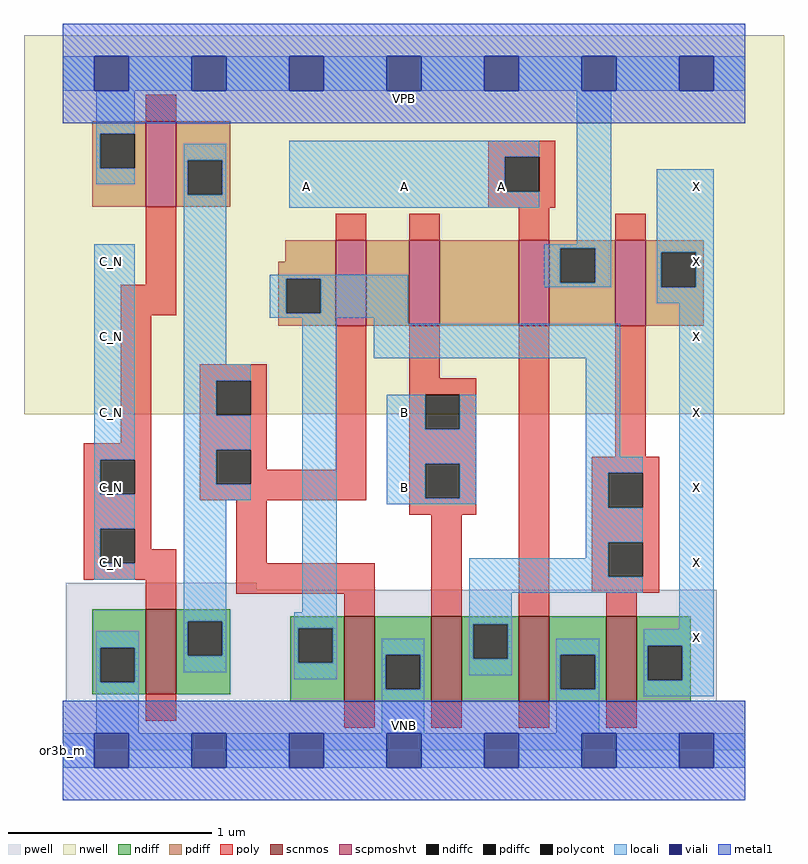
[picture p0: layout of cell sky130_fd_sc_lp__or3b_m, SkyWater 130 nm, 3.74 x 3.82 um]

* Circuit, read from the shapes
.subckt sky130_fd_sc_lp__or3b_m A B C_N VGND VNB VPB VPWR X
XM1 n1 C_N VGND VNB sky130_fd_pr__nfet_01v8 w=0.42 l=0.15
XM2 VGND n1 n2 VNB sky130_fd_pr__nfet_01v8 w=0.42 l=0.15
XM3 n2 B VGND VNB sky130_fd_pr__nfet_01v8 w=0.42 l=0.15
XM4 VGND A n2 VNB sky130_fd_pr__nfet_01v8 w=0.42 l=0.15
XM5 X n2 VGND VNB sky130_fd_pr__nfet_01v8 w=0.42 l=0.15
XM6 n1 C_N VPWR VPB sky130_fd_pr__pfet_01v8_hvt w=0.42 l=0.15
XM7 n3 n1 n2 VPB sky130_fd_pr__pfet_01v8_hvt w=0.42 l=0.15
XM8 n4 B n3 VPB sky130_fd_pr__pfet_01v8_hvt w=0.42 l=0.15
XM9 VPWR A n4 VPB sky130_fd_pr__pfet_01v8_hvt w=0.42 l=0.15
XM10 X n2 VPWR VPB sky130_fd_pr__pfet_01v8_hvt w=0.42 l=0.15
.ends

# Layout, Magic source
magic
tech sky130A
magscale 1 2
<< nwell >>
rect -38 331 710 704
<< pwell >>
rect 3 158 191 165
rect 3 49 644 158
rect 0 0 672 49
<< scnmos >>
rect 82 55 112 139
rect 277 48 307 132
rect 363 48 393 132
rect 449 48 479 132
rect 535 48 565 132
<< scpmoshvt >>
rect 82 535 112 619
rect 269 418 299 502
rect 341 418 371 502
rect 449 418 479 502
rect 544 418 574 502
<< ndiff >>
rect 29 101 82 139
rect 29 67 37 101
rect 71 67 82 101
rect 29 55 82 67
rect 112 127 165 139
rect 112 93 123 127
rect 157 93 165 127
rect 112 55 165 93
rect 224 120 277 132
rect 224 86 232 120
rect 266 86 277 120
rect 224 48 277 86
rect 307 94 363 132
rect 307 60 318 94
rect 352 60 363 94
rect 307 48 363 60
rect 393 124 449 132
rect 393 90 404 124
rect 438 90 449 124
rect 393 48 449 90
rect 479 94 535 132
rect 479 60 490 94
rect 524 60 535 94
rect 479 48 535 60
rect 565 103 618 132
rect 565 69 576 103
rect 610 69 618 103
rect 565 48 618 69
<< pdiff >>
rect 29 607 82 619
rect 29 573 37 607
rect 71 573 82 607
rect 29 535 82 573
rect 112 581 165 619
rect 112 547 123 581
rect 157 547 165 581
rect 112 535 165 547
rect 219 481 269 502
rect 212 464 269 481
rect 212 430 220 464
rect 254 430 269 464
rect 212 418 269 430
rect 299 418 341 502
rect 371 418 449 502
rect 479 494 544 502
rect 479 460 490 494
rect 524 460 544 494
rect 479 418 544 460
rect 574 490 631 502
rect 574 456 589 490
rect 623 456 631 490
rect 574 418 631 456
<< ndiffc >>
rect 37 67 71 101
rect 123 93 157 127
rect 232 86 266 120
rect 318 60 352 94
rect 404 90 438 124
rect 490 60 524 94
rect 576 69 610 103
<< pdiffc >>
rect 37 573 71 607
rect 123 547 157 581
rect 220 430 254 464
rect 490 460 524 494
rect 589 456 623 490
<< poly >>
rect 82 619 112 645
rect 419 584 485 600
rect 419 550 435 584
rect 469 550 485 584
rect 82 458 112 535
rect 419 534 485 550
rect 269 502 299 528
rect 341 502 371 528
rect 449 502 479 534
rect 544 502 574 528
rect 57 428 112 458
rect 57 302 87 428
rect 21 286 87 302
rect 21 252 37 286
rect 71 252 87 286
rect 21 218 87 252
rect 135 364 201 380
rect 135 330 151 364
rect 185 330 201 364
rect 135 296 201 330
rect 135 262 151 296
rect 185 276 201 296
rect 269 276 299 418
rect 185 262 299 276
rect 135 246 299 262
rect 341 366 371 418
rect 341 350 407 366
rect 341 316 357 350
rect 391 316 407 350
rect 341 282 407 316
rect 341 248 357 282
rect 391 248 407 282
rect 21 184 37 218
rect 71 198 87 218
rect 71 184 112 198
rect 21 168 112 184
rect 82 139 112 168
rect 171 184 201 246
rect 341 232 407 248
rect 171 154 307 184
rect 277 132 307 154
rect 363 132 393 232
rect 449 132 479 418
rect 544 289 574 418
rect 521 273 587 289
rect 521 239 537 273
rect 571 239 587 273
rect 521 205 587 239
rect 521 171 537 205
rect 571 171 587 205
rect 521 155 587 171
rect 535 132 565 155
rect 82 29 112 55
rect 277 22 307 48
rect 363 22 393 48
rect 449 22 479 48
rect 535 22 565 48
<< polycont >>
rect 435 550 469 584
rect 37 252 71 286
rect 151 330 185 364
rect 151 262 185 296
rect 357 316 391 350
rect 357 248 391 282
rect 37 184 71 218
rect 537 239 571 273
rect 537 171 571 205
<< locali >>
rect 0 649 31 683
rect 65 649 127 683
rect 161 649 223 683
rect 257 649 319 683
rect 353 649 415 683
rect 449 649 511 683
rect 545 649 607 683
rect 641 649 672 683
rect 33 607 71 649
rect 33 573 37 607
rect 33 557 71 573
rect 119 581 161 597
rect 119 547 123 581
rect 157 547 161 581
rect 31 286 71 498
rect 31 252 37 286
rect 31 218 71 252
rect 31 184 37 218
rect 31 168 71 184
rect 119 380 161 547
rect 223 584 469 600
rect 223 550 435 584
rect 223 534 469 550
rect 506 498 540 649
rect 474 494 540 498
rect 204 464 340 468
rect 204 430 220 464
rect 254 430 340 464
rect 474 460 490 494
rect 524 460 540 494
rect 474 456 540 460
rect 585 490 641 572
rect 585 456 589 490
rect 623 456 641 490
rect 585 440 641 456
rect 204 426 340 430
rect 119 364 185 380
rect 119 330 151 364
rect 119 296 185 330
rect 119 262 151 296
rect 119 246 185 262
rect 119 127 161 246
rect 236 136 270 426
rect 306 420 340 426
rect 306 386 549 420
rect 319 316 357 350
rect 391 316 407 350
rect 319 282 407 316
rect 319 248 357 282
rect 391 248 407 282
rect 319 242 407 248
rect 515 289 549 386
rect 515 273 571 289
rect 515 239 537 273
rect 515 205 571 239
rect 515 189 537 205
rect 33 101 75 117
rect 33 67 37 101
rect 71 67 75 101
rect 119 93 123 127
rect 157 93 161 127
rect 119 77 161 93
rect 228 120 270 136
rect 228 86 232 120
rect 266 86 270 120
rect 400 171 537 189
rect 400 155 571 171
rect 400 124 442 155
rect 228 70 270 86
rect 314 94 356 110
rect 33 17 75 67
rect 314 60 318 94
rect 352 60 356 94
rect 400 90 404 124
rect 438 90 442 124
rect 607 119 641 440
rect 400 74 442 90
rect 486 94 528 110
rect 314 17 356 60
rect 486 60 490 94
rect 524 60 528 94
rect 486 17 528 60
rect 572 103 641 119
rect 572 69 576 103
rect 610 69 641 103
rect 572 53 641 69
rect 0 -17 31 17
rect 65 -17 127 17
rect 161 -17 223 17
rect 257 -17 319 17
rect 353 -17 415 17
rect 449 -17 511 17
rect 545 -17 607 17
rect 641 -17 672 17
<< viali >>
rect 31 649 65 683
rect 127 649 161 683
rect 223 649 257 683
rect 319 649 353 683
rect 415 649 449 683
rect 511 649 545 683
rect 607 649 641 683
rect 31 -17 65 17
rect 127 -17 161 17
rect 223 -17 257 17
rect 319 -17 353 17
rect 415 -17 449 17
rect 511 -17 545 17
rect 607 -17 641 17
<< metal1 >>
rect 0 683 672 715
rect 0 649 31 683
rect 65 649 127 683
rect 161 649 223 683
rect 257 649 319 683
rect 353 649 415 683
rect 449 649 511 683
rect 545 649 607 683
rect 641 649 672 683
rect 0 617 672 649
rect 0 17 672 49
rect 0 -17 31 17
rect 65 -17 127 17
rect 161 -17 223 17
rect 257 -17 319 17
rect 353 -17 415 17
rect 449 -17 511 17
rect 545 -17 607 17
rect 641 -17 672 17
rect 0 -49 672 -17
<< labels >>
flabel pwell s 0 0 672 49 0 FreeSans 200 0 0 0 VNB
port 5 nsew ground bidirectional
flabel nwell s 0 617 672 666 0 FreeSans 200 0 0 0 VPB
port 6 nsew power bidirectional
rlabel comment s 0 0 0 0 4 or3b_m
flabel metal1 s 0 617 672 666 0 FreeSans 340 0 0 0 VPWR
port 7 nsew power bidirectional
flabel metal1 s 0 0 672 49 0 FreeSans 340 0 0 0 VGND
port 4 nsew ground bidirectional
flabel locali s 223 538 257 572 0 FreeSans 340 0 0 0 A
port 1 nsew signal input
flabel locali s 319 538 353 572 0 FreeSans 340 0 0 0 A
port 1 nsew signal input
flabel locali s 415 538 449 572 0 FreeSans 340 0 0 0 A
port 1 nsew signal input
flabel locali s 319 242 353 276 0 FreeSans 340 0 0 0 B
port 2 nsew signal input
flabel locali s 319 316 353 350 0 FreeSans 340 0 0 0 B
port 2 nsew signal input
flabel locali s 31 168 65 202 0 FreeSans 340 0 0 0 C_N
port 3 nsew signal input
flabel locali s 31 242 65 276 0 FreeSans 340 0 0 0 C_N
port 3 nsew signal input
flabel locali s 31 316 65 350 0 FreeSans 340 0 0 0 C_N
port 3 nsew signal input
flabel locali s 31 390 65 424 0 FreeSans 340 0 0 0 C_N
port 3 nsew signal input
flabel locali s 31 464 65 498 0 FreeSans 340 0 0 0 C_N
port 3 nsew signal input
flabel locali s 607 94 641 128 0 FreeSans 340 0 0 0 X
port 8 nsew signal output
flabel locali s 607 168 641 202 0 FreeSans 340 0 0 0 X
port 8 nsew signal output
flabel locali s 607 242 641 276 0 FreeSans 340 0 0 0 X
port 8 nsew signal output
flabel locali s 607 316 641 350 0 FreeSans 340 0 0 0 X
port 8 nsew signal output
flabel locali s 607 390 641 424 0 FreeSans 340 0 0 0 X
port 8 nsew signal output
flabel locali s 607 464 641 498 0 FreeSans 340 0 0 0 X
port 8 nsew signal output
flabel locali s 607 538 641 572 0 FreeSans 340 0 0 0 X
port 8 nsew signal output
<< properties >>
string LEFsite unit
string LEFclass CORE
string FIXED_BBOX 0 0 672 666
string GDS_FILE $PDKPATH/libs.ref/sky130_fd_sc_lp/gds/sky130_fd_sc_lp.gds
string LEFsymmetry X Y R90
string GDS_END 601688
string GDS_START 593972
<< end >>
